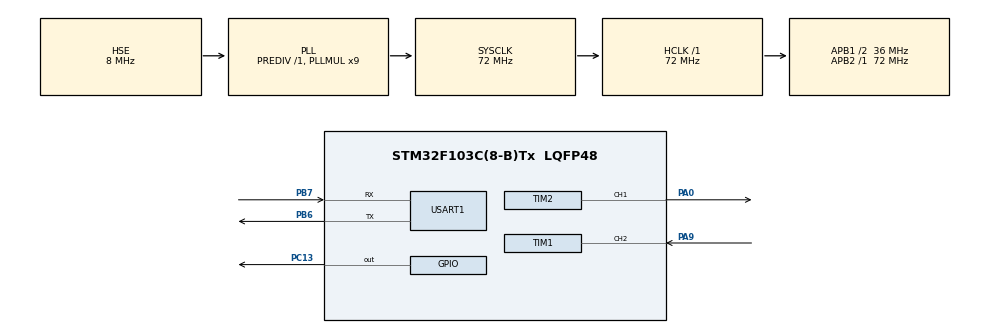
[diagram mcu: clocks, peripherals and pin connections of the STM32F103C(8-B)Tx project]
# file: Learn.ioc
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FREERTOS.Tasks01=MainTask,0,128,StartDefaultTask,Default,NULL,Dynamic,NULL,NULL;UartTask,2,128,StartTask02,Default,NULL,Dynamic,NULL,NULL
FREERTOS.Timers01=myTimer01,Callback01,osTimerOnce,Default,NULL,Dynamic,NULL
FREERTOS.configTIMER_TASK_PRIORITY=6
FREERTOS.configTOTAL_HEAP_SIZE=3892
FREERTOS.configUSE_TIMERS=1
Mcu.Family=STM32F1
Mcu.Name=STM32F103C(8-B)Tx
Mcu.Package=LQFP48
NVIC.PriorityGroup=NVIC_PRIORITYGROUP_4
NVIC.TIM1_CC_IRQn=true\:5\:0\:false\:false\:true\:true\:true
NVIC.TIM2_IRQn=true\:5\:0\:false\:false\:true\:true\:true
NVIC.TIM4_IRQn=true\:0\:0\:false\:false\:true\:false\:false
NVIC.TimeBase=TIM4_IRQn
NVIC.TimeBaseIP=TIM4
NVIC.USART1_IRQn=true\:5\:0\:false\:false\:true\:true\:true
PA0-WKUP.Signal=S_TIM2_CH1_ETR
PA13.Mode=Serial_Wire
PA13.Signal=SYS_JTMS-SWDIO
PA14.Mode=Serial_Wire
PA14.Signal=SYS_JTCK-SWCLK
PA9.Signal=S_TIM1_CH2
PB6.Mode=Asynchronous
PB6.Signal=USART1_TX
PB7.Mode=Asynchronous
PB7.Signal=USART1_RX
PC13-TAMPER-RTC.Signal=GPIO_Output
PD0-OSC_IN.Mode=HSE-External-Oscillator
PD0-OSC_IN.Signal=RCC_OSC_IN
PD1-OSC_OUT.Mode=HSE-External-Oscillator
PD1-OSC_OUT.Signal=RCC_OSC_OUT
ProjectManager.HeapSize=0x200
ProjectManager.StackSize=0x400
ProjectManager.TargetToolchain=MDK-ARM V5
RCC.AHBFreq_Value=72000000
RCC.APB1CLKDivider=RCC_HCLK_DIV2
RCC.APB1Freq_Value=36000000
RCC.APB1TimFreq_Value=72000000
RCC.APB2Freq_Value=72000000
RCC.APB2TimFreq_Value=72000000
RCC.HCLKFreq_Value=72000000
RCC.PLLMUL=RCC_PLL_MUL9
RCC.PLLSourceVirtual=RCC_PLLSOURCE_HSE
RCC.SYSCLKFreq_VALUE=72000000
RCC.SYSCLKSource=RCC_SYSCLKSOURCE_PLLCLK
RCC.USBFreq_Value=72000000
SH.S_TIM1_CH2.0=TIM1_CH2,PWM_Input_2
SH.S_TIM2_CH1_ETR.0=TIM2_CH1,Output Compare1 CH1
TIM1.AutoReloadPreload=TIM_AUTORELOAD_PRELOAD_ENABLE
TIM1.ClockDivision=TIM_CLOCKDIVISION_DIV4
TIM1.Period=65535
TIM1.Prescaler=999
TIM1.TIM_MasterOutputTrigger=TIM_TRGO_ENABLE
TIM1.TIM_MasterSlaveMode=TIM_MASTERSLAVEMODE_DISABLE
TIM2.AutoReloadPreload=TIM_AUTORELOAD_PRELOAD_ENABLE
TIM2.Channel-Output\ Compare1\ CH1=TIM_CHANNEL_1
TIM2.ClockDivision=TIM_CLOCKDIVISION_DIV4
TIM2.OCMode_1=TIM_OCMODE_TOGGLE
TIM2.OCPolarity_1=TIM_OCPOLARITY_LOW
TIM2.Period=65535
TIM2.Prescaler=999
TIM2.TIM_MasterOutputTrigger=TIM_TRGO_ENABLE
USART1.VirtualMode=VM_ASYNC
VP_FREERTOS_VS_ENABLE.Mode=Enabled
VP_SYS_VS_tim4.Mode=TIM4
VP_TIM1_VS_ClockSourceINT.Mode=Internal
VP_TIM2_VS_ClockSourceINT.Mode=Internal
board=custom

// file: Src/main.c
/**
  ******************************************************************************
  * @file           : main.c
  * @brief          : Main program body
  ******************************************************************************
  * This notice applies to any and all portions of this file
  * that are not between comment pairs USER CODE BEGIN and
  * USER CODE END. Other portions of this file, whether
  * inserted by the user or by software development tools
  * are owned by their respective copyright owners.
  *
  * Copyright (c) 2019 STMicroelectronics International N.V.
  * All rights reserved.
  *
  * Redistribution and use in source and binary forms, with or without
  * modification, are permitted, provided that the following conditions are met:
  *
  * 1. Redistribution of source code must retain the above copyright notice,
  *    this list of conditions and the following disclaimer.
  * 2. Redistributions in binary form must reproduce the above copyright notice,
  *    this list of conditions and the following disclaimer in the documentation
  *    and/or other materials provided with the distribution.
  * 3. Neither the name of STMicroelectronics nor the names of other
  *    contributors to this software may be used to endorse or promote products
  *    derived from this software without specific written permission.
  * 4. This software, including modifications and/or derivative works of this
  *    software, must execute solely and exclusively on microcontroller or
  *    microprocessor devices manufactured by or for STMicroelectronics.
  * 5. Redistribution and use of this software other than as permitted under
  *    this license is void and will automatically terminate your rights under
  *    this license.
  *
  * THIS SOFTWARE IS PROVIDED BY STMICROELECTRONICS AND CONTRIBUTORS "AS IS"
  * AND ANY EXPRESS, IMPLIED OR STATUTORY WARRANTIES, INCLUDING, BUT NOT
  * LIMITED TO, THE IMPLIED WARRANTIES OF MERCHANTABILITY, FITNESS FOR A
  * PARTICULAR PURPOSE AND NON-INFRINGEMENT OF THIRD PARTY INTELLECTUAL PROPERTY
  * RIGHTS ARE DISCLAIMED TO THE FULLEST EXTENT PERMITTED BY LAW. IN NO EVENT
  * SHALL STMICROELECTRONICS OR CONTRIBUTORS BE LIABLE FOR ANY DIRECT, INDIRECT,
  * INCIDENTAL, SPECIAL, EXEMPLARY, OR CONSEQUENTIAL DAMAGES (INCLUDING, BUT NOT
  * LIMITED TO, PROCUREMENT OF SUBSTITUTE GOODS OR SERVICES; LOSS OF USE, DATA,
  * OR PROFITS; OR BUSINESS INTERRUPTION) HOWEVER CAUSED AND ON ANY THEORY OF
  * LIABILITY, WHETHER IN CONTRACT, STRICT LIABILITY, OR TORT (INCLUDING
  * NEGLIGENCE OR OTHERWISE) ARISING IN ANY WAY OUT OF THE USE OF THIS SOFTWARE,
  * EVEN IF ADVISED OF THE POSSIBILITY OF SUCH DAMAGE.
  *
  ******************************************************************************
  */
#include "main.h"
#include "stm32f1xx_hal.h"
#include "cmsis_os.h"

/* USER CODE BEGIN Includes */
#include "RF.h"
#include "string.h"
#include "stdlib.h"
#include "stdio.h"

/* USER CODE END Includes */

TIM_HandleTypeDef htim1;
TIM_HandleTypeDef htim2;

UART_HandleTypeDef huart1;

osThreadId MainTaskHandle;
osThreadId UartTaskHandle;
osTimerId myTimer01Handle;

/* USER CODE BEGIN PV */
/* Private variables ---------------------------------------------------------*/

/* USER CODE END PV */

void SystemClock_Config(void);
static void MX_GPIO_Init(void);
static void MX_USART1_UART_Init(void);
static void MX_TIM1_Init(void);
static void MX_TIM2_Init(void);
void StartDefaultTask(void const * argument);
void StartTask02(void const * argument);
void Callback01(void const * argument);

void HAL_TIM_MspPostInit(TIM_HandleTypeDef *htim);

/* USER CODE BEGIN PFP */
/* Private function prototypes -----------------------------------------------*/
char str[100]; //buffer for transmit UART
uint8_t data_uart[1];  //reg for recive from uart
BUF uart_BUF ;	//struct for reciving uart
BUF RF_pck ;	//struct for reciving uart
int TimeOut_Recive = Timer_RTOS ;
unsigned char start_Recive=0;
int32_t uart_signal;
unsigned char RF_status=0;

/* USER CODE END PFP */

int main(void)
{

  /* MCU Configuration----------------------------------------------------------*/

  /* Reset of all peripherals, Initializes the Flash interface and the Systick. */
  HAL_Init();

  /* Configure the system clock */
  SystemClock_Config();

  /* Initialize all configured peripherals */
  MX_GPIO_Init();
  MX_USART1_UART_Init();
  MX_TIM1_Init();
  MX_TIM2_Init();
  /* USER CODE BEGIN 2 */
	HAL_UART_Receive_IT(&huart1,data_uart,1);//preload for intrupt of usart1
  /* USER CODE END 2 */

  /* Create the timer(s) */
  /* definition and creation of myTimer01 */
  osTimerDef(myTimer01, Callback01);
  myTimer01Handle = osTimerCreate(osTimer(myTimer01), osTimerOnce, NULL);

  /* Create the thread(s) */
  /* definition and creation of MainTask */
  osThreadDef(MainTask, StartDefaultTask, osPriorityNormal, 0, 128);
  MainTaskHandle = osThreadCreate(osThread(MainTask), NULL);

  /* definition and creation of UartTask */
  osThreadDef(UartTask, StartTask02, osPriorityHigh, 0, 128);
  UartTaskHandle = osThreadCreate(osThread(UartTask), NULL);

  /* Start scheduler */
  osKernelStart();

  /* We should never get here as control is now taken by the scheduler */

  /* Infinite loop */
  while (1)
  {

  }

}

void SystemClock_Config(void)
{

  RCC_OscInitTypeDef RCC_OscInitStruct;
  RCC_ClkInitTypeDef RCC_ClkInitStruct;

    /**Initializes the CPU, AHB and APB busses clocks
    */
  RCC_OscInitStruct.OscillatorType = RCC_OSCILLATORTYPE_HSE;
  RCC_OscInitStruct.HSEState = RCC_HSE_ON;
  RCC_OscInitStruct.HSEPredivValue = RCC_HSE_PREDIV_DIV1;
  RCC_OscInitStruct.HSIState = RCC_HSI_ON;
  RCC_OscInitStruct.PLL.PLLState = RCC_PLL_ON;
  RCC_OscInitStruct.PLL.PLLSource = RCC_PLLSOURCE_HSE;
  RCC_OscInitStruct.PLL.PLLMUL = RCC_PLL_MUL9;
  if (HAL_RCC_OscConfig(&RCC_OscInitStruct) != HAL_OK)
  {
    _Error_Handler(__FILE__, __LINE__);
  }

    /**Initializes the CPU, AHB and APB busses clocks
    */
  RCC_ClkInitStruct.ClockType = RCC_CLOCKTYPE_HCLK|RCC_CLOCKTYPE_SYSCLK
                              |RCC_CLOCKTYPE_PCLK1|RCC_CLOCKTYPE_PCLK2;
  RCC_ClkInitStruct.SYSCLKSource = RCC_SYSCLKSOURCE_PLLCLK;
  RCC_ClkInitStruct.AHBCLKDivider = RCC_SYSCLK_DIV1;
  RCC_ClkInitStruct.APB1CLKDivider = RCC_HCLK_DIV2;
  RCC_ClkInitStruct.APB2CLKDivider = RCC_HCLK_DIV1;

  if (HAL_RCC_ClockConfig(&RCC_ClkInitStruct, FLASH_LATENCY_2) != HAL_OK)
  {
    _Error_Handler(__FILE__, __LINE__);
  }

    /**Configure the Systick interrupt time
    */
  HAL_SYSTICK_Config(HAL_RCC_GetHCLKFreq()/1000);

    /**Configure the Systick
    */
  HAL_SYSTICK_CLKSourceConfig(SYSTICK_CLKSOURCE_HCLK);

  /* SysTick_IRQn interrupt configuration */
  HAL_NVIC_SetPriority(SysTick_IRQn, 15, 0);
}

/* TIM1 init function */
static void MX_TIM1_Init(void)
{

  TIM_ClockConfigTypeDef sClockSourceConfig;
  TIM_SlaveConfigTypeDef sSlaveConfig;
  TIM_IC_InitTypeDef sConfigIC;
  TIM_MasterConfigTypeDef sMasterConfig;

  htim1.Instance = TIM1;
  htim1.Init.Prescaler = 999;
  htim1.Init.CounterMode = TIM_COUNTERMODE_UP;
  htim1.Init.Period = 65535;
  htim1.Init.ClockDivision = TIM_CLOCKDIVISION_DIV4;
  htim1.Init.RepetitionCounter = 0;
  htim1.Init.AutoReloadPreload = TIM_AUTORELOAD_PRELOAD_ENABLE;
  if (HAL_TIM_Base_Init(&htim1) != HAL_OK)
  {
    _Error_Handler(__FILE__, __LINE__);
  }

  sClockSourceConfig.ClockSource = TIM_CLOCKSOURCE_INTERNAL;
  if (HAL_TIM_ConfigClockSource(&htim1, &sClockSourceConfig) != HAL_OK)
  {
    _Error_Handler(__FILE__, __LINE__);
  }

  if (HAL_TIM_IC_Init(&htim1) != HAL_OK)
  {
    _Error_Handler(__FILE__, __LINE__);
  }

  sSlaveConfig.SlaveMode = TIM_SLAVEMODE_RESET;
  sSlaveConfig.InputTrigger = TIM_TS_TI2FP2;
  sSlaveConfig.TriggerPolarity = TIM_INPUTCHANNELPOLARITY_FALLING;
  sSlaveConfig.TriggerPrescaler = TIM_ICPSC_DIV1;
  sSlaveConfig.TriggerFilter = 0;
  if (HAL_TIM_SlaveConfigSynchronization(&htim1, &sSlaveConfig) != HAL_OK)
  {
    _Error_Handler(__FILE__, __LINE__);
  }

  sConfigIC.ICPolarity = TIM_INPUTCHANNELPOLARITY_RISING;
  sConfigIC.ICSelection = TIM_ICSELECTION_INDIRECTTI;
  sConfigIC.ICPrescaler = TIM_ICPSC_DIV1;
  sConfigIC.ICFilter = 0;
  if (HAL_TIM_IC_ConfigChannel(&htim1, &sConfigIC, TIM_CHANNEL_1) != HAL_OK)
  {
    _Error_Handler(__FILE__, __LINE__);
  }

  sConfigIC.ICPolarity = TIM_INPUTCHANNELPOLARITY_FALLING;
  sConfigIC.ICSelection = TIM_ICSELECTION_DIRECTTI;
  if (HAL_TIM_IC_ConfigChannel(&htim1, &sConfigIC, TIM_CHANNEL_2) != HAL_OK)
  {
    _Error_Handler(__FILE__, __LINE__);
  }

  sMasterConfig.MasterOutputTrigger = TIM_TRGO_ENABLE;
  sMasterConfig.MasterSlaveMode = TIM_MASTERSLAVEMODE_DISABLE;
  if (HAL_TIMEx_MasterConfigSynchronization(&htim1, &sMasterConfig) != HAL_OK)
  {
    _Error_Handler(__FILE__, __LINE__);
  }

}

/* TIM2 init function */
static void MX_TIM2_Init(void)
{

  TIM_ClockConfigTypeDef sClockSourceConfig;
  TIM_MasterConfigTypeDef sMasterConfig;
  TIM_OC_InitTypeDef sConfigOC;

  htim2.Instance = TIM2;
  htim2.Init.Prescaler = 999;
  htim2.Init.CounterMode = TIM_COUNTERMODE_UP;
  htim2.Init.Period = 65535;
  htim2.Init.ClockDivision = TIM_CLOCKDIVISION_DIV4;
  htim2.Init.AutoReloadPreload = TIM_AUTORELOAD_PRELOAD_ENABLE;
  if (HAL_TIM_Base_Init(&htim2) != HAL_OK)
  {
    _Error_Handler(__FILE__, __LINE__);
  }

  sClockSourceConfig.ClockSource = TIM_CLOCKSOURCE_INTERNAL;
  if (HAL_TIM_ConfigClockSource(&htim2, &sClockSourceConfig) != HAL_OK)
  {
    _Error_Handler(__FILE__, __LINE__);
  }

  if (HAL_TIM_OC_Init(&htim2) != HAL_OK)
  {
    _Error_Handler(__FILE__, __LINE__);
  }

  sMasterConfig.MasterOutputTrigger = TIM_TRGO_ENABLE;
  sMasterConfig.MasterSlaveMode = TIM_MASTERSLAVEMODE_DISABLE;
  if (HAL_TIMEx_MasterConfigSynchronization(&htim2, &sMasterConfig) != HAL_OK)
  {
    _Error_Handler(__FILE__, __LINE__);
  }

  sConfigOC.OCMode = TIM_OCMODE_TOGGLE;
  sConfigOC.Pulse = 0;
  sConfigOC.OCPolarity = TIM_OCPOLARITY_LOW;
  sConfigOC.OCFastMode = TIM_OCFAST_DISABLE;
  if (HAL_TIM_OC_ConfigChannel(&htim2, &sConfigOC, TIM_CHANNEL_1) != HAL_OK)
  {
    _Error_Handler(__FILE__, __LINE__);
  }

  HAL_TIM_MspPostInit(&htim2);

}

/* USART1 init function */
static void MX_USART1_UART_Init(void)
{

  huart1.Instance = USART1;
  huart1.Init.BaudRate = 115200;
  huart1.Init.WordLength = UART_WORDLENGTH_8B;
  huart1.Init.StopBits = UART_STOPBITS_1;
  huart1.Init.Parity = UART_PARITY_NONE;
  huart1.Init.Mode = UART_MODE_TX_RX;
  huart1.Init.HwFlowCtl = UART_HWCONTROL_NONE;
  huart1.Init.OverSampling = UART_OVERSAMPLING_16;
  if (HAL_UART_Init(&huart1) != HAL_OK)
  {
    _Error_Handler(__FILE__, __LINE__);
  }

}

/** Configure pins as
        * Analog
        * Input
        * Output
        * EVENT_OUT
        * EXTI
*/
static void MX_GPIO_Init(void)
{

  GPIO_InitTypeDef GPIO_InitStruct;

  /* GPIO Ports Clock Enable */
  __HAL_RCC_GPIOC_CLK_ENABLE();
  __HAL_RCC_GPIOD_CLK_ENABLE();
  __HAL_RCC_GPIOA_CLK_ENABLE();
  __HAL_RCC_GPIOB_CLK_ENABLE();

  /*Configure GPIO pin Output Level */
  HAL_GPIO_WritePin(GPIOC, GPIO_PIN_13, GPIO_PIN_RESET);

  /*Configure GPIO pin : PC13 */
  GPIO_InitStruct.Pin = GPIO_PIN_13;
  GPIO_InitStruct.Mode = GPIO_MODE_OUTPUT_PP;
  GPIO_InitStruct.Pull = GPIO_NOPULL;
  GPIO_InitStruct.Speed = GPIO_SPEED_FREQ_LOW;
  HAL_GPIO_Init(GPIOC, &GPIO_InitStruct);

}

/* USER CODE BEGIN 4 */
int j=0;

void HAL_TIM_OC_DelayElapsedCallback(TIM_HandleTypeDef *htim)
{
	j++;
	__HAL_TIM_SET_COMPARE(&htim2,TIM_CHANNEL_1,RF_pck.BUF[j]);

	if(j>48){
		HAL_TIM_OC_Stop_IT(&htim2,TIM_CHANNEL_1);
	}else{
		HAL_TIM_OC_Start_IT(&htim2,TIM_CHANNEL_1);
	}

}
//injoori behtare ta in ke bafer koni to ye task --> choon mesl adami mimoone ke ye chi midan dastesh check kone va ina
void HAL_TIM_IC_CaptureCallback(TIM_HandleTypeDef *htim){
		osTimerStart(myTimer01Handle,TimeOut_Recive);

	if(RF_status==RF_OK){
		if(htim->Channel == HAL_TIM_ACTIVE_CHANNEL_1){//cycle
			RF_pck.BUF[RF_pck.len] = HAL_TIM_ReadCapturedValue(&htim1, TIM_CHANNEL_1);
			RF_pck.len++;
			sprintf(str, "c");
			HAL_UART_Transmit(&huart1,(unsigned char*)str ,strlen(str),10);
		}
		if(htim->Channel == HAL_TIM_ACTIVE_CHANNEL_2){//duty
			RF_pck.BUF[RF_pck.len] = HAL_TIM_ReadCapturedValue(&htim1, TIM_CHANNEL_2);
			RF_pck.len++;
			sprintf(str, "d");
			HAL_UART_Transmit(&huart1,(unsigned char*)str ,strlen(str),10);
		}
		if(RF_pck.len>BUF_max_size){
			RF_pck.len=BUF_max_size;
			sprintf(str, "over flow shod");
			HAL_UART_Transmit(&huart1,(unsigned char*)str ,strlen(str),100);
			}
	}
}

void HAL_UART_RxCpltCallback(UART_HandleTypeDef *huart){
	if(huart->Instance==USART1){

		if(*data_uart=='@'){
			start_Recive=1;//set
			for(int k=0;k<BUF_max_size;k++)
				uart_BUF.BUF[k]=0;//clear the content of buffer
				uart_BUF.len=0;
			}
		if((start_Recive==1) && (*data_uart!='.') && (*data_uart!='@') && (uart_BUF.len<BUF_max_size)){
			uart_BUF.BUF[uart_BUF.len]=*data_uart;
			uart_BUF.len++;
		}
		if((start_Recive==1) && *data_uart=='.'){
			start_Recive=0;
			osSignalSet(UartTaskHandle,uart_signal);//set the signal of rtos set.
		}
		if(	uart_BUF.len>BUF_max_size ){

			for(int k=0;k<BUF_max_size;k++)
				uart_BUF.BUF[k]=0;//clear the content of buffer
			uart_BUF.len=0;
			start_Recive=0;
			}

		HAL_UART_Receive_IT(&huart1,data_uart,1);//preload for intrupt of usart1
	}
}

/* USER CODE END 4 */

void StartDefaultTask(void const * argument)
{

  /* USER CODE BEGIN 5 */
  /* Infinite loop */
  for(;;)
  {
	//	HAL_GPIO_TogglePin(GPIOC,GPIO_PIN_13);

		osDelay(1);
  }
  /* USER CODE END 5 */
}

void StartTask02(void const * argument)
{
  /* USER CODE BEGIN StartTask02 */
  /* Infinite loop */
  for(;;)
  {
		osEvent result=osSignalWait(uart_signal,10000);
	if(result.status == osEventSignal){

		sprintf(str, "\" %s \"\n",(uint8_t *)uart_BUF.BUF);
		HAL_UART_Transmit(&huart1,(unsigned char*)str ,strlen(str),100);
		switch(uart_BUF.BUF[0]){
			case 'r':
			RF_status=RF_IDLE;
			RF_LEARN();

				break;
			case 't':
				HAL_GPIO_WritePin(GPIOC,GPIO_PIN_13,GPIO_PIN_SET);

osDelay(1000);

				for(int i=0;i<100;i++){
					j=0;
					__HAL_TIM_SET_COMPARE(&htim2,TIM_CHANNEL_1,RF_pck.BUF[0]);
					__HAL_TIM_SET_AUTORELOAD(&htim2,RF_pck.BUF[50]);
					__HAL_TIM_SET_COUNTER(&htim2,0U);

					HAL_TIM_OC_Start_IT(&htim2,TIM_CHANNEL_1);

					HAL_Delay(20);

				}

			osDelay(1000);

			HAL_GPIO_WritePin(GPIOC,GPIO_PIN_13,GPIO_PIN_RESET);

			break;

		}

	}
	else{
	sprintf(str, ".");
		HAL_UART_Transmit(&huart1,(unsigned char*)str ,strlen(str),100);

	}
    osDelay(1);
  }
  /* USER CODE END StartTask02 */
}

/* Callback01 function */
void Callback01(void const * argument)
{
  /* USER CODE BEGIN Callback01 */
	switch (RF_status)
  {
  	case RF_IDLE:
				RF_status=RF_OK;
  		break;
  	case RF_OK:
		RF_status=RF_IDLE;
		osTimerStop(myTimer01Handle);
		HAL_TIM_IC_Stop_IT(&htim1, TIM_CHANNEL_1);
		HAL_TIM_IC_Stop_IT(&htim1, TIM_CHANNEL_2);

		sprintf(str, "\n\n");
		HAL_UART_Transmit(&huart1,(unsigned char*)str ,strlen(str),100);
	//make data desirable
		for(int i=1;i<BUF_max_size;i=i+2)
			RF_pck.BUF[i]=RF_pck.BUF[i]-RF_pck.BUF[i-1];
		RF_pck.len=BUF_max_size-1;
		for(int i=0;i<RF_pck.len;i++)
			RF_pck.BUF[i]=RF_pck.BUF[i+1];

	//print data
		for(int i=0;i<RF_pck.len;i++){
			if(i%2){
				sprintf(str, "-%d-:low %d ",i,RF_pck.BUF[i]);
				HAL_UART_Transmit(&huart1,(unsigned char*)str ,strlen(str),100);
			}else{
				sprintf(str, "-%d-high:%d \n",i,RF_pck.BUF[i]);
				HAL_UART_Transmit(&huart1,(unsigned char*)str ,strlen(str),100);
				}
		}
	//prepare data for transmit
			for(int i=0;i<RF_pck.len-1;i++){
				RF_pck.BUF[i+1]=RF_pck.BUF[i+1]+RF_pck.BUF[i];
				}
	//print data
		for(int i=0;i<RF_pck.len;i++){
			if(i%2){
				sprintf(str, "-%d-:low %d ",i,RF_pck.BUF[i]);
				HAL_UART_Transmit(&huart1,(unsigned char*)str ,strlen(str),100);
			}else{
				sprintf(str, "-%d-high:%d \n",i,RF_pck.BUF[i]);
				HAL_UART_Transmit(&huart1,(unsigned char*)str ,strlen(str),100);
				}
		}
		break;
  	default:
  		break;
  }

  /* USER CODE END Callback01 */
}

void HAL_TIM_PeriodElapsedCallback(TIM_HandleTypeDef *htim)
{
  if (htim->Instance == TIM4) {
    HAL_IncTick();
  }
}

void _Error_Handler(char *file, int line)
{
  while(1)
  {
  }
}

/************************ (C) COPYRIGHT STMicroelectronics *****END OF FILE****/
